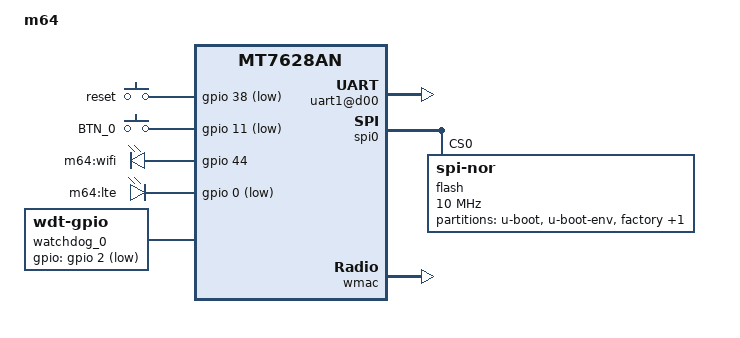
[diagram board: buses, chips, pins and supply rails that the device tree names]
#include "mt7628an.dtsi"

#include <dt-bindings/input/input.h>
#include <dt-bindings/gpio/gpio.h>

/ {
	compatible = "ylx,m64", "mediatek,mt7628an-soc";
	model = "m64";

	aliases {
		led-boot = &led_wlan;
		led-failsafe = &led_wlan;
		led-running = &led_wlan;
		led-upgrade = &led_wlan;
	};

	chosen {
		bootargs = "console=ttyS0,115200";
	};

	keys {
		compatible = "gpio-keys";

		reset {
			label = "reset";
			gpios = <&gpio 38 GPIO_ACTIVE_LOW>;
			linux,code = <KEY_RESTART>;
		};
		sim {
			label = "BTN_0";
			gpios = <&gpio 11 1>; //gpio11 
			linux,code = <0x100>;
			
		};
	};

	leds {
		compatible = "gpio-leds";

		led_wlan: wifi {
			label = "m64:wifi";
			gpios = <&gpio 44 0>; //gpio44
		};
		lte {
			label = "m64:lte";
			gpios = <&gpio 0 1>; //gpio1
		};
	};


	watchdog_0:watchdog {
		compatible = "linux,wdt-gpio";
		gpios = <&gpio 2 1>; //gpio2
		hw_algo = "toggle";
		hw_margin_ms = <1600>;
		always-running = <1>;
		status = "okay";
	};

	uart1@d00 {
		status = "okay";
	};
};

&state_default {
	gpio {
		groups = "gpio","perst","refclk","wdt","i2c","i2s","wled_an";
		function = "gpio";
	};
	p4led_an{
				ralink,group = "p4led_an";
				ralink,function = "p4led_an";
	};
	p1led_an{
				ralink,group = "p1led_an";
				ralink,function = "p1led_an";
	};
};

&spi0 {
	status = "okay";

	flash@0 {
		compatible = "jedec,spi-nor";
		reg = <0>;
		spi-max-frequency = <10000000>;

		partitions {
			compatible = "fixed-partitions";
			#address-cells = <1>;
			#size-cells = <1>;

			partition@0 {
				label = "u-boot";
				reg = <0x0 0x30000>;
				read-only;
			};

			partition@30000 {
				label = "u-boot-env";
				reg = <0x30000 0x10000>;
				read-only;
			};

			factory: partition@40000 {
				label = "factory";
				reg = <0x40000 0x10000>;
				// read-only;
			};

			partition@50000 {
				compatible = "denx,uimage";
				label = "firmware";
				reg = <0x50000 0xfb0000>;
			};
		};
	};
};

&wmac {
	status = "okay";
};

&ethernet {
	mtd-mac-address = <&factory 0x2e>;
};

&esw {
	mediatek,portmap = <0x2f>;
};
